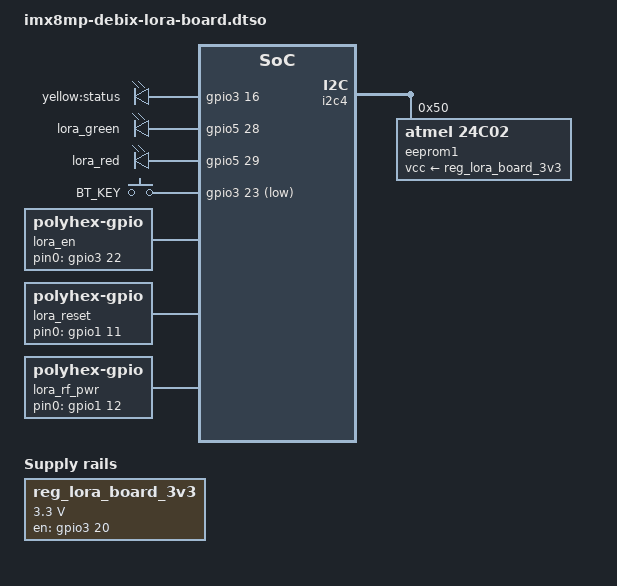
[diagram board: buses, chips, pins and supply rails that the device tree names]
// SPDX-License-Identifier: (GPL-2.0+ OR MIT)
/*
 * Copyright 2019 NXP
 */

/dts-v1/;
/plugin/;
#include "../../freescale/imx8mp-pinfunc.h"
#include <dt-bindings/clock/imx8mp-clock.h>
#include <dt-bindings/power/imx8mp-power.h>
#include <dt-bindings/reset/imx8mp-reset.h>
#include <dt-bindings/power/imx8mp-power.h>
#include <dt-bindings/gpio/gpio.h>
#include <dt-bindings/input/input.h>
#include <dt-bindings/interrupt-controller/arm-gic.h>
#include <dt-bindings/thermal/thermal.h>
#include <dt-bindings/usb/pd.h>

&{/} {
	gpio_leds:gpio-leds {
		compatible = "gpio-leds";
		pinctrl-names = "default";
		pinctrl-0 = <&pinctrl_gpio_led>;

		status {
			label = "yellow:status";
			gpios = <&gpio3 16 GPIO_ACTIVE_HIGH>;
			default-state = "on";
		};
		lora_green {
			label = "lora_green";
			gpios = <&gpio5 28 GPIO_ACTIVE_HIGH>;
			default-state = "on";
		};
		lora_red {
			label = "lora_red";
			gpios = <&gpio5 29 GPIO_ACTIVE_HIGH>;
			default-state = "on";
		};
	};
	
  gpio-keys {
		compatible = "gpio-keys";
                pinctrl-names = "default";
                pinctrl-0 = <&pinctrl_gpiokeys>;

		BT_KEY {
                        label = "BT_KEY";
                        gpios = <&gpio3 23 GPIO_ACTIVE_LOW>;
                        linux,code = <KEY_BLUETOOTH>;
                        debounce-interval = <10>;
                };

  };
  
	reg_lora_board_3v3: regulator-lora {
		compatible = "regulator-fixed";
		pinctrl-names = "default";
		pinctrl-0 = <&pinctrl_lora_board_3v3>;
		regulator-name = "LORA_VDD_3V3";
		regulator-min-microvolt = <3300000>;
		regulator-max-microvolt = <3300000>;
		gpio = <&gpio3 20 GPIO_ACTIVE_HIGH>;
		enable-active-high;
		regulator-always-on;
	};

	lora_en {
		compatible = "polyhex-gpio";
		status = "okay";
		gpios_mode = <2>;
		gpios_port_num = <1>;
		gpios_pin0 = <&gpio3 22 GPIO_ACTIVE_HIGH>; /* lora en */
		gpios_name = "lora_en";
		pinctrl-names = "default";
		pinctrl-0 = <&pinctrl_lora_en>;
	};

	lora_reset {
		compatible = "polyhex-gpio";
		status = "okay";
		gpios_mode = <1>;
		gpios_port_num = <1>;
		gpios_pin0 = <&gpio1 11 GPIO_ACTIVE_HIGH>; /* lora reset */
		gpios_name = "lora_reset";
		pinctrl-names = "default";
		pinctrl-0 = <&pinctrl_lora_reset>;
	};
	lora_rf_pwr {
		compatible = "polyhex-gpio";
		status = "okay";
		gpios_mode = <1>;
		gpios_port_num = <1>;
		gpios_pin0 = <&gpio1 12 GPIO_ACTIVE_HIGH>; /* lora reset */
		gpios_name = "lora_rf_pwr";
		pinctrl-names = "default";
		pinctrl-0 = <&pinctrl_lora_rf_pwr>;
	};
};

&flexcan1 {
	status = "disabled";//CAN1-TXD Used as LORA-PWR-EN And CAN1-RXD Used as BT_KEY
	
};

&i2c4 {
	status = "okay";
	#address-cells = <1>;   // 显式覆盖继承值
    	#size-cells = <0>;      // I2C 设备不需要 size 字段	
	eeprom1: eeprom@50 {
		status = "okay";
		compatible = "atmel,24c02";
		reg = <0x50>;
		//reg = <0x0 0x50 0x1>;
		pagesize = <16>;
		vcc-supply = <&reg_lora_board_3v3>;
	};
};

&i2c6 {
	status = "disabled"; // i2c6_scl used as dx83e08 reset
};

&uart4 {
	status = "disabled"; // uart4-txd used as green led, uart4-txd used as red led
};

&iomuxc {
	pinctrl_gpiokeys: gpiokeygrp {
		  fsl,pins = <
			  MX8MP_IOMUXC_SAI5_RXD2__GPIO3_IO23 0x154
			  >;
	};
	
	pinctrl_gpio_led: gpioledgrp {
		fsl,pins = <
			MX8MP_IOMUXC_NAND_READY_B__GPIO3_IO16	0x140
			MX8MP_IOMUXC_UART4_RXD__GPIO5_IO28 0x49
			MX8MP_IOMUXC_UART4_TXD__GPIO5_IO29 0x49
		>;
	};

	pinctrl_lora_board_3v3: lora3v3grp {
		fsl,pins = <
			MX8MP_IOMUXC_SAI5_RXC__GPIO3_IO20		0x16
		>;
	};
	
	pinctrl_lora_en: loraengrp {
		fsl,pins = <
			MX8MP_IOMUXC_SAI5_RXD1__GPIO3_IO22 	  0x19 // lora power
		>;
	};
	
	pinctrl_lora_reset: lorarstgrp {
		fsl,pins = <
			MX8MP_IOMUXC_GPIO1_IO11__GPIO1_IO11		0x19 // lora reset
		>;
	};
	
	pinctrl_lora_rf_pwr: lorarfpwrgrp {
		fsl,pins = <
			MX8MP_IOMUXC_GPIO1_IO12__GPIO1_IO12		0x19 // lora reset
		>;
	};
	
};
